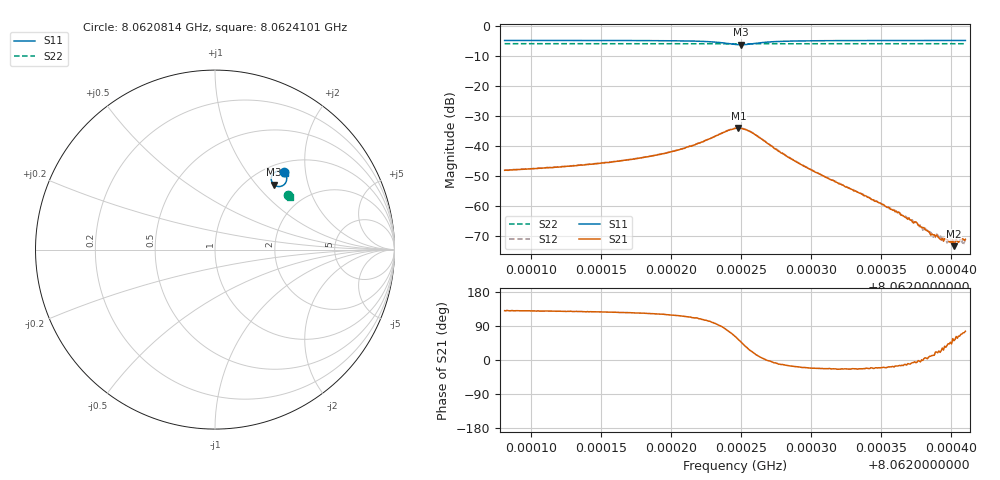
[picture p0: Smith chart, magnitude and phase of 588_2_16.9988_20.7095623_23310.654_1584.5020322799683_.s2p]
#  HZ  S  RI  R  50.00
! Rohde & Schwarz Vector Network Analyzer
! Rohde-Schwarz,ZNB20-2Port,1311601062101988,3.16
! Created: UTC 3/20/2024, 11:18:24 PM
! freq[Hz]  re:S11  im:S11  re:S21  im:S21  re:S12  im:S12  re:S22  im:S22
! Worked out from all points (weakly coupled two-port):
!   401 points, 8.0620814 GHz to 8.0624101 GHz, reference 50 ohm
!   highest |S21| = -34.04 dB at 8.0622482 GHz (marker M1); lowest = -73.5 dB at 8.0624019 GHz (marker M2)
!   lowest |S11| = -6.2 dB at 8.0622498 GHz (marker M3), VSWR 2.91, Z = 65.4 + j62.1 ohm
!   |S11| at or under -10 dB: nowhere
!   |S22| runs from -5.9 to -5.9 dB; largest |S21 - S12| = 0.0012
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8.06208136e9  0.3826 0.4303  -0.00252 0.00299  -0.00237 0.00315  0.4057 0.3068
8.06213642e9  0.3882 0.4246  -0.00296 0.0038  -0.00272 0.00401  0.4075 0.3039
8.06217094e9  0.3926 0.4184  -0.00339 0.00488  -0.00309 0.00512  0.4089 0.3021
8.06219148e9  0.396 0.4119  -0.00372 0.00612  -0.00337 0.00643  0.4096 0.3006
8.06221614e9  0.3996 0.3954  -0.00379 0.00958  -0.0033 0.00986  0.4104 0.2988
8.06223422e9  0.389 0.3661  -0.000484 0.0155  0.000395 0.0155  0.4102 0.2966
8.06224572e9  0.3476 0.352  0.00906 0.0173  0.0102 0.0169  0.4085 0.2961
8.06224819e9  0.3354 0.3565  0.0117 0.016  0.0127 0.0154  0.4081 0.2963
8.06224983e9  0.328 0.3617  0.013 0.0145  0.0141 0.0141  0.4079 0.2965
8.06225723e9  0.3132 0.3954  0.0156 0.00685  0.016 0.00594  0.408 0.2981
8.06227778e9  0.3444 0.4358  0.0078 -0.0015  0.00783 -0.00195  0.4107 0.2984
8.06230079e9  0.3646 0.4369  0.00365 -0.00144  0.00359 -0.00169  0.4123 0.297
8.06235585e9  0.3806 0.4306  0.000886 -0.000293  0.00083 -0.000325  0.4147 0.2939
8.06237064e9  0.3829 0.4292  0.000567 -0.00011  0.000573 -0.000119  0.4153 0.293
8.06237557e9  0.3835 0.4288  0.000516 -5.44e-05  0.000487 -0.0001  0.4155 0.2929
8.06238708e9  0.3849 0.4279  0.000319 7.03e-05  0.000286 8.62e-05  0.4158 0.2923
8.06239119e9  0.3855 0.4275  0.000266 0.000118  0.000285 9.24e-05  0.416 0.2921
8.0623953e9  0.3859 0.4272  0.000227 0.000168  0.000223 0.000149  0.4162 0.2918
8.06240023e9  0.3864 0.4269  0.000174 0.000157  0.000163 0.000187  0.4164 0.2916
8.06240187e9  0.3867 0.4267  0.000134 0.000164  0.000194 0.000201  0.4164 0.2913
8.06240762e9  0.3871 0.4261  0.000101 0.000261  0.000111 0.000241  0.4166 0.2911
8.06241009e9  0.3875 0.426  6.75e-05 0.000269  0.000108 0.000249  0.4167 0.2909
